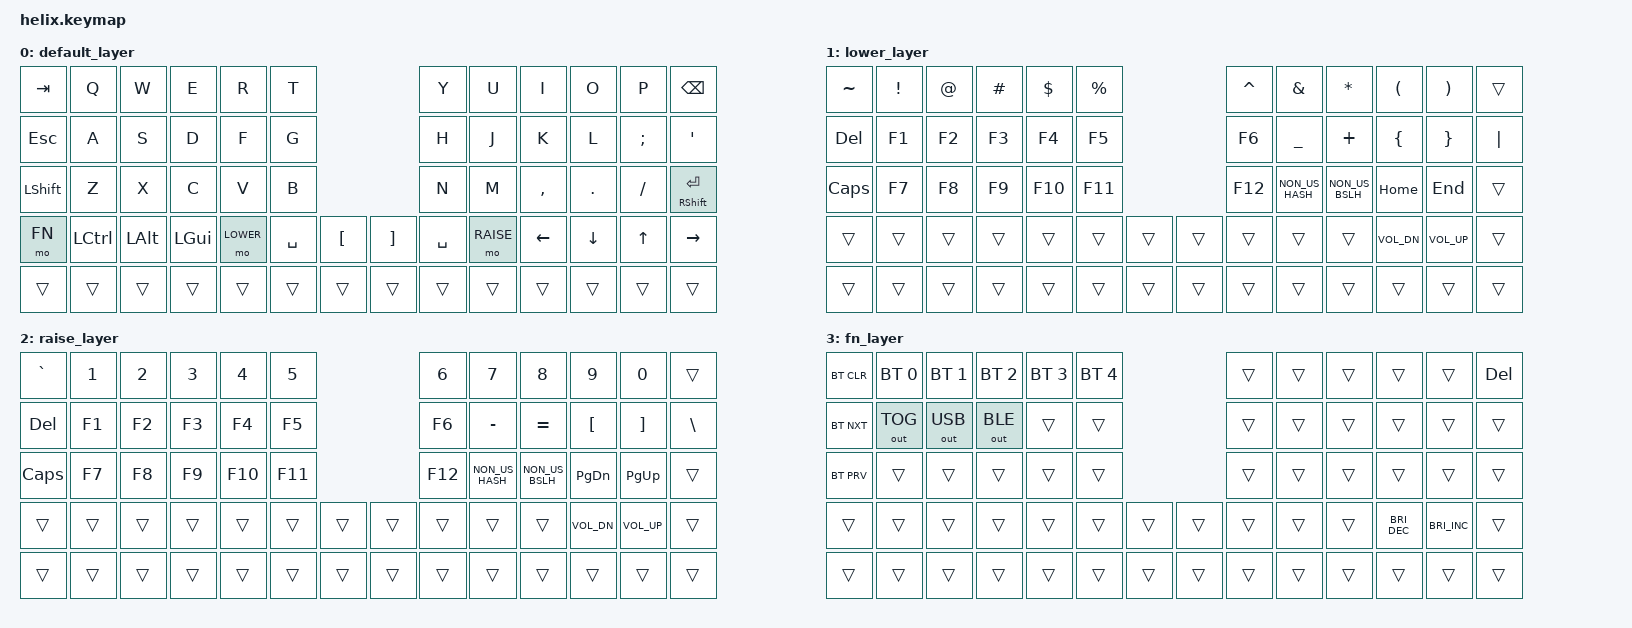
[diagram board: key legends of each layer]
/*
 * Copyright (c) 2020 The ZMK Contributors
 *
 * SPDX-License-Identifier: MIT
 */

 #include <behaviors.dtsi>
 #include <dt-bindings/zmk/keys.h>
 #include <dt-bindings/zmk/bt.h>
 #include <dt-bindings/zmk/rgb.h>
 #include <dt-bindings/zmk/ext_power.h>
 #include <dt-bindings/zmk/outputs.h>

 #define DEFAULT 0
 #define LOWER  1
 #define RAISE  2
 #define FN 3

/ {
       keymap {
              compatible = "zmk,keymap";
              default_layer {
/* Default
 * ,-----------------------------------------.                        .-----------------------------------------.
 * | Tab  |   Q  |   W  |   E  |   R  |   T  |                        |   Y  |   U  |   I  |   O  |   P  | Bksp |
 * |------+------+------+------+------+------|                        |------+------+------+------+------+------|
 * | Esc  |   A  |   S  |   D  |   F  |   G  |                        |   H  |   J  |   K  |   L  |   ;  |  '   |
 * |------+------+------+------+------+------|                        |------+------+------+------+------+------|
 * | Shift|   Z  |   X  |   C  |   V  |   B  |                        |   N  |   M  |   ,  |   .  |   /  |SftEnt|
 * |------+------+------+------+------+------+------.          .------+------+------+------+------+------+------|
 * |  FN  | LCtrl| LAlt | LGUI | Lower| SPCE | LBKT |          | RBKT | SPCE | Raise| Left | Down |  Up  |Right |
 * `------------------------------------------------'          '------------------------------------------------'
 */
                     bindings = <              
       &kp TAB    &kp Q     &kp W    &kp E    &kp R     &kp T                       &kp Y     &kp U     &kp I     &kp O      &kp P     &kp BSPC
       &kp ESC    &kp A     &kp S    &kp D    &kp F     &kp G                       &kp H     &kp J     &kp K     &kp L      &kp SEMI  &kp SQT
       &kp LSHFT  &kp Z     &kp X    &kp C    &kp V     &kp B                       &kp N     &kp M     &kp COMMA &kp PERIOD &kp SLASH &mt RSHFT RET
       &mo FN     &kp LCTRL &kp LALT &kp LGUI &mo LOWER &kp SPACE &kp LBKT &kp RBKT &kp SPACE &mo RAISE &kp LEFT  &kp DOWN   &kp UP    &kp RIGHT
       &trans     &trans    &trans   &trans   &trans    &trans    &trans   &trans   &trans    &trans    &trans    &trans     &trans    &trans
                     >;
              };
              lower_layer {
/* Lower
 * ,-----------------------------------------.                        .-----------------------------------------.
 * |   ~  |   !  |   @  |   #  |   $  |   %  |                        |   ^  |   &  |   *  |   (  |   )  |      |
 * |------+------+------+------+------+------|                        |------+------+------+------+------+------|
 * | Del  |  F1  |  F2  |  F3  |  F4  |  F5  |                        |  F6  |   _  |   +  |   {  |   }  |  |   |
 * |------+------+------+------+------+------|                        |------+------+------+------+------+------|
 * | Caps |  F7  |  F8  |  F9  |  F10 |  F11 |                        |  F12 |ISO ~ |ISO | | Home | End  |      |
 * |------+------+------+------+------+------+------.          .------+------+------+------+------+------+------|
 * |      |      |      |      |      |      |      |          |      |      |      |      | Vol- | Vol+ |      |
 * `------------------------------------------------'          '------------------------------------------------'
 */
                     bindings = <
       &kp TILDE &kp EXCL &kp AT &kp HASH &kp DLLR &kp PRCNT                &kp CARET &kp AMPS        &kp ASTRK       &kp LPAR     &kp RPAR     &trans
       &kp DEL   &kp F1   &kp F2 &kp F3   &kp F4   &kp F5                   &kp F6    &kp UNDER       &kp PLUS        &kp LBRC     &kp RBRC     &kp PIPE
       &kp CAPS  &kp F7   &kp F8 &kp F9   &kp F10  &kp F11                  &kp F12   &kp NON_US_HASH &kp NON_US_BSLH &kp HOME     &kp END      &trans
       &trans    &trans   &trans &trans   &trans   &trans    &trans  &trans &trans    &trans          &trans          &kp C_VOL_DN &kp C_VOL_UP &trans
       &trans    &trans   &trans &trans   &trans   &trans    &trans  &trans &trans    &trans          &trans          &trans       &trans       &trans
                     >;
              };
              raise_layer {
/* Raise
 * ,-----------------------------------------.                        .-----------------------------------------.
 * |   `  |   1  |   2  |   3  |   4  |   5  |                        |   6  |   7  |   8  |   9  |   0  |      |
 * |------+------+------+------+------+------|                        |------+------+------+------+------+------|
 * | Del  |  F1  |  F2  |  F3  |  F4  |  F5  |                        |  F6  |   -  |   =  |   [  |   ]  |  \   |
 * |------+------+------+------+------+------|                        |------+------+------+------+------+------|
 * | Caps |  F7  |  F8  |  F9  |  F10 |  F11 |                        |  F12 |ISO # |ISO / |Pg Up |Pg Dn |      |
 * |------+------+------+------+------+------+------.          .------+------+------+------+------+------+------|
 * |      |      |      |      |      |      |      |          |      |      |      |      | Vol- | Vol+ |      |
 * `------------------------------------------------'          '------------------------------------------------'
 */
                     bindings = <
       &kp GRAVE &kp N1 &kp N2 &kp N3 &kp N4  &kp N5                &kp N6  &kp N7          &kp N8           &kp N9       &kp N0       &trans
       &kp DEL   &kp F1 &kp F2 &kp F3 &kp F4  &kp F5                &kp F6  &kp MINUS       &kp EQUAL        &kp LBKT     &kp RBKT     &kp BSLH
       &kp CAPS  &kp F7 &kp F8 &kp F9 &kp F10 &kp F11               &kp F12 &kp NON_US_HASH &kp NON_US_BSLH  &kp PG_DN    &kp PG_UP    &trans
       &trans    &trans &trans &trans &trans  &trans  &trans &trans &trans  &trans          &trans           &kp C_VOL_DN &kp C_VOL_UP &trans
       &trans    &trans &trans &trans &trans  &trans  &trans &trans &trans  &trans          &trans           &trans       &trans       &trans
                     >;
              };
              fn_layer {
/* Fn
 * ,-----------------------------------------.                        .-----------------------------------------.
 * |BT CLR|BTSEL0|BTSEL1|BTSEL2|BTSEL3|BTSEL4|                        |      |      |      |      |      |      |
 * |------+------+------+------+------+------|                        |------+------+------+------+------+------|
 * |BT NXT|      |      |      |      |      |                        |      |      |      |      |      |      |
 * |------+------+------+------+------+------|                        |------+------+------+------+------+------|
 * |BT PRV|      |      |      |      |      |                        |      |      |      |      |      |      |
 * |------+------+------+------+------+------+------.          .------+------+------+------+------+------+------|
 * |      |      |      |      |      |      |      |          |      |      |      |      | Br-  | Br+  |      |
 * `------------------------------------------------'          '------------------------------------------------'
 */
                     bindings = <
       &bt BT_CLR &bt BT_SEL 0 &bt BT_SEL 1 &bt BT_SEL 2 &bt BT_SEL 3 &bt BT_SEL 4               &trans &trans &trans &trans               &trans               &kp DEL
       &bt BT_NXT &out OUT_TOG &out OUT_USB &out OUT_BLE &trans       &trans                     &trans &trans &trans &trans               &trans               &trans
       &bt BT_PRV &trans       &trans       &trans       &trans       &trans                     &trans &trans &trans &trans               &trans               &trans
       &trans     &trans       &trans       &trans       &trans       &trans       &trans &trans &trans &trans &trans &kp C_BRIGHTNESS_DEC &kp C_BRIGHTNESS_INC &trans
       &trans     &trans       &trans       &trans       &trans       &trans       &trans &trans &trans &trans &trans &trans               &trans               &trans
                     >;
              };
       };
};
